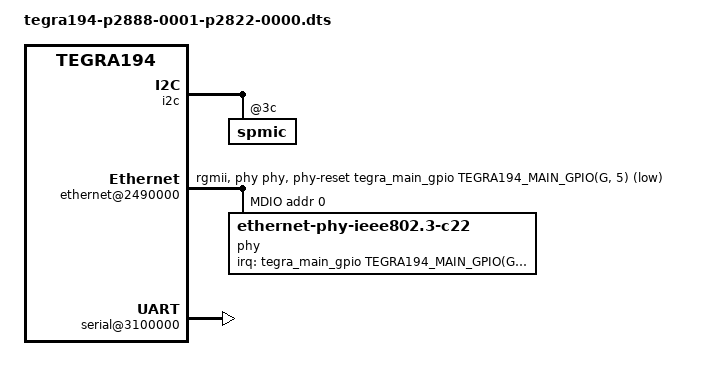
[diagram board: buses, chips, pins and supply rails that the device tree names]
#include "../../../../../../../hardware/nvidia/platform/t19x/galen/kernel-dts/tegra194-p2888-0001-p2822-0000.dts"

/ {
	bpmp {
		i2c {
			spmic@3c {
				interrupt-parent = <&intc>;
				interrupts = <GIC_SPI 209 IRQ_TYPE_LEVEL_HIGH>;
			};
		};
	};

	/* Upstream kernel does not implement pinctrl driver (pinmux)
           as the pinmuxing is done in MB1 */
	gpio@2200000 {
		/delete-property/ gpio-ranges;
	};

	gpio@c2f0000 {
		/delete-property/ gpio-ranges;
	};

	gpio-keys {
		status = "disabled";
	};

	hda@3510000 {
		power-domains = <&bpmp TEGRA194_POWER_DOMAIN_DISP>;
		resets = <&bpmp TEGRA194_RESET_HDA>,
			 <&bpmp TEGRA194_RESET_HDA2CODEC_2X>,
			 <&bpmp TEGRA194_RESET_HDA2HDMICODEC>;
		reset-names = "hda", "hda2codec_2x", "hda2hdmi";
	};

	ethernet@2490000 {
		compatible = "nvidia,tegra186-eqos",
			     "snps,dwc-qos-ethernet-4.10";
		reg = <0x0 0x02490000 0x0 0x10000>;
		interrupts = <GIC_SPI 194 IRQ_TYPE_LEVEL_HIGH>;
		clocks = <&bpmp TEGRA194_CLK_AXI_CBB>,
			 <&bpmp TEGRA194_CLK_EQOS_AXI>,
			 <&bpmp TEGRA194_CLK_EQOS_RX>,
			 <&bpmp TEGRA194_CLK_EQOS_TX>,
			 <&bpmp TEGRA194_CLK_EQOS_PTP_REF>;
		clock-names = "master_bus", "slave_bus", "rx", "tx", "ptp_ref";
		resets = <&bpmp TEGRA194_RESET_EQOS>;
		reset-names = "eqos";
		status = "okay";

		snps,write-requests = <1>;
		snps,read-requests = <3>;
		snps,burst-map = <0x7>;
		snps,txpbl = <16>;
		snps,rxpbl = <8>;

		phy-reset-gpios = <&tegra_main_gpio TEGRA194_MAIN_GPIO(G, 5) GPIO_ACTIVE_LOW>;
		phy-handle = <&phy>;
		phy-mode = "rgmii";

		mdio {
			#address-cells = <1>;
			#size-cells = <0>;

			phy: phy@0 {
				compatible = "ethernet-phy-ieee802.3-c22";
				reg = <0x0>;
				interrupt-parent = <&tegra_main_gpio>;
				interrupts = <TEGRA194_MAIN_GPIO(G, 4) IRQ_TYPE_LEVEL_LOW>;
			};
		};
	};

	serial@3100000 {
		compatible = "nvidia,tegra194-hsuart";
		reg = <0x03100000 0x40>;
		interrupts = <GIC_SPI 112 IRQ_TYPE_LEVEL_HIGH>;
		clocks = <&bpmp TEGRA194_CLK_UARTA>;
		clock-names = "serial";
		resets = <&bpmp TEGRA194_RESET_UARTA>;
		reset-names = "serial";
		/delete-property/ dma-names;
		/delete-property/ dma-coherent;
	};

	host1x@13e00000 {
		reset-names = "host1x";
		reg-names = "vm", "hypervisor";

		/delete-node/ display-hub@15200000;
		/delete-node/ sor;
		/delete-node/ sor0;
		/delete-node/ sor1;
		/delete-node/ sor2;
	};

	tegra-cache {
		status = "okay";
	};
};
